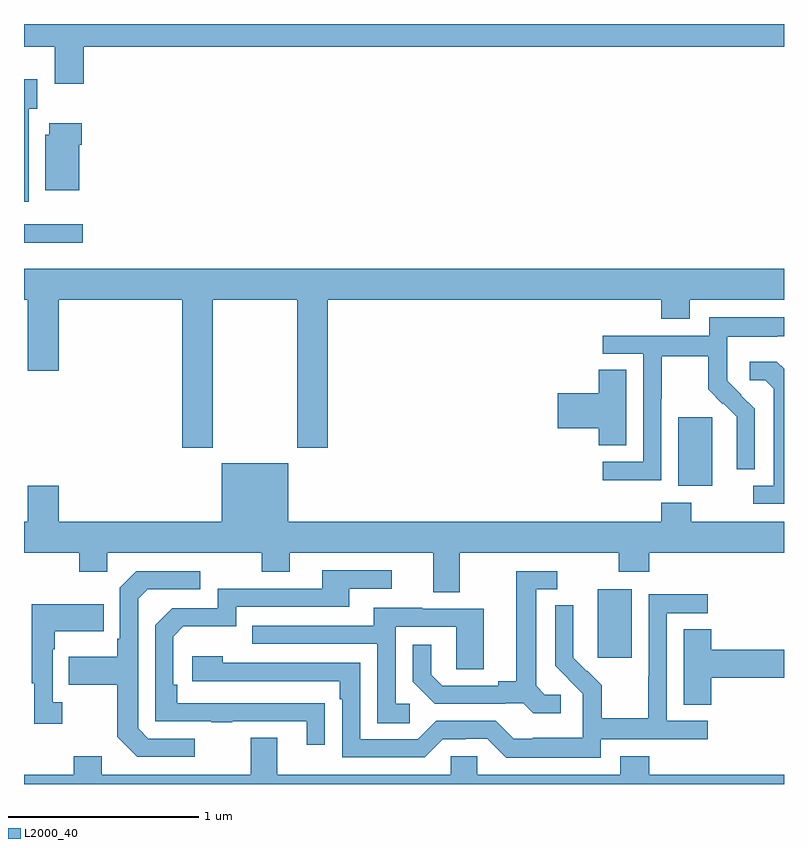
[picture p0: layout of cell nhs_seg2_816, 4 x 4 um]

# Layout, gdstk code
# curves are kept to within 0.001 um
import gdstk
lib = gdstk.Library(unit=1e-6, precision=1e-09)
def R(c, l, rs):  # rectangles x0, y0, x1, y1
    for r in rs: c.add(gdstk.rectangle(r[:2], r[2:], *l))
def P(c, l, *ps):  # polygons
    for p in ps: c.add(gdstk.Polygon(p, *l))
L2000_40 = (2000, 40)

nhs_seg2_816 = lib.new_cell('nhs_seg2_816')
R(nhs_seg2_816, L2000_40, [(156.02,600.465,156.199,600.826), (156.443,601.37,156.622,601.731), (153,602.648,153.31,602.745)])
P(nhs_seg2_816, L2000_40, [(153,603.68),(153.161,603.68),(153.161,603.486),(153.314,603.486),(153.314,603.68),(157,603.68),(157,603.8),(153,603.8)],
  [(153.025,603.354),(153.07,603.354),(153.07,603.508),(153,603.508),(153,602.865),(153.025,602.865)],
  [(153.292,603.164),(153.305,603.164),(153.305,603.277),(153.134,603.277),(153.134,603.216),(153.113,603.216),(153.113,602.924),(153.292,602.924)],
  [(153.993,602.348),(154.438,602.348),(154.438,601.569),(154.598,601.569),(154.598,602.348),(156.353,602.348),(156.353,602.249),(156.505,602.249),(156.505,602.348),(157,602.348),(157,602.512),(153,602.512),(153,602.348),(153.02,602.348),(153.02,601.974),(153.184,601.974),(153.184,602.348),(153.833,602.348),(153.833,601.569),(153.993,601.569)],
  [(156.354,601.828),(156.357,601.828),(156.357,602.052),(156.601,602.052),(156.601,601.877),(156.678,601.8),(156.681,601.803),(156.752,601.733),(156.752,601.61),(156.75,601.61),(156.75,601.456),(156.846,601.456),(156.846,601.774),(156.7,601.922),(156.7,602.019),(156.702,602.019),(156.702,602.153),(156.965,602.153),(156.965,602.157),(157,602.157),(157,602.257),(156.606,602.257),(156.606,602.16),(156.045,602.16),(156.045,602.064),(156.258,602.064),(156.258,601.497),(156.045,601.497),(156.045,601.399),(156.354,601.399)],
  [(157,601.985),(156.962,602.023),(156.819,602.023),(156.819,601.926),(156.9,601.926),(156.947,601.879),(156.947,601.371),(156.837,601.371),(156.837,601.275),(157,601.275)],
  [(156.169,601.979),(156.026,601.979),(156.026,601.856),(155.808,601.856),(155.808,601.673),(156.026,601.673),(156.026,601.582),(156.169,601.582)],
  [(155.293,601.016),(156.13,601.016),(156.13,600.917),(156.29,600.917),(156.29,601.016),(157,601.016),(157,601.18),(156.513,601.18),(156.513,601.279),(156.353,601.279),(156.353,601.18),(154.39,601.18),(154.39,601.489),(154.04,601.489),(154.04,601.18),(153.184,601.18),(153.184,601.369),(153.02,601.369),(153.02,601.18),(153,601.18),(153,601.016),(153.292,601.016),(153.292,600.917),(153.438,600.917),(153.438,601.016),(154.252,601.016),(154.252,600.917),(154.399,600.917),(154.399,601.016),(155.153,601.016),(155.153,600.808),(155.293,600.808)],
  [(154.583,600.224),(153.806,600.225),(153.806,600.322),(153.786,600.322),(153.786,600.576),(153.839,600.629),(154.116,600.629),(154.116,600.732),(154.711,600.732),(154.711,600.828),(154.936,600.828),(154.936,600.924),(154.571,600.924),(154.571,600.828),(154.02,600.828),(154.02,600.726),(153.78,600.726),(153.69,600.636),(153.69,600.129),(153.985,600.129),(153.985,600.124),(154.097,600.124),(154.097,600.129),(154.487,600.129),(154.487,600.006),(154.583,600.006)],
  [(153.898,600.039),(153.654,600.039),(153.6,600.093),(153.6,600.774),(153.651,600.825),(153.928,600.825),(153.928,600.921),(153.591,600.921),(153.504,600.834),(153.504,600.565),(153.492,600.565),(153.492,600.469),(153.235,600.469),(153.235,600.322),(153.492,600.322),(153.492,600.049),(153.597,599.943),(153.898,599.943)],
  [(155.824,600.27),(155.742,600.27),(155.695,600.317),(155.695,600.825),(155.806,600.825),(155.806,600.921),(155.591,600.921),(155.591,600.341),(155.495,600.341),(155.495,600.318),(155.2,600.318),(155.143,600.375),(155.143,600.532),(155.046,600.532),(155.046,600.338),(155.162,600.222),(155.534,600.222),(155.534,600.225),(155.628,600.225),(155.68,600.173),(155.824,600.173)],
  [(156.036,600.036),(156.598,600.036),(156.598,600.132),(156.384,600.132),(156.384,600.699),(156.598,600.699),(156.598,600.798),(156.288,600.798),(156.288,600.368),(156.286,600.368),(156.286,600.145),(156.041,600.145),(156.041,600.319),(155.964,600.396),(155.961,600.393),(155.891,600.464),(155.892,600.74),(155.796,600.74),(155.796,600.422),(155.942,600.274),(155.942,600.177),(155.94,600.177),(155.94,600.043),(155.677,600.043),(155.677,600.039),(155.577,600.039),(155.484,600.132),(155.169,600.132),(155.073,600.036),(154.77,600.036),(154.77,600.438),(154.046,600.438),(154.046,600.472),(153.885,600.472),(153.885,600.342),(154.661,600.342),(154.661,600.245),(154.674,600.245),(154.674,599.94),(155.109,599.94),(155.205,600.036),(155.324,600.036),(155.324,600.039),(155.439,600.039),(155.539,599.939),(156.036,599.939)],
  [(153.202,600.23),(153.15,600.23),(153.15,600.509),(153.163,600.509),(153.163,600.605),(153.419,600.605),(153.419,600.745),(153.042,600.745),(153.042,600.329),(153.053,600.329),(153.053,600.117),(153.202,600.117)],
  [(155.029,600.222),(154.956,600.222),(154.956,600.627),(155.274,600.627),(155.274,600.403),(155.419,600.403),(155.419,600.723),(155.095,600.723),(155.095,600.727),(154.841,600.727),(154.841,600.633),(154.201,600.633),(154.201,600.537),(154.86,600.537),(154.86,600.121),(155.029,600.121)],
  [(156.617,600.359),(157,600.359),(157,600.506),(156.617,600.506),(156.617,600.614),(156.473,600.614),(156.473,600.217),(156.617,600.217)],
  [(157,599.848),(156.29,599.848),(156.29,599.947),(156.137,599.947),(156.137,599.848),(155.385,599.848),(155.385,599.946),(155.247,599.946),(155.247,599.848),(154.333,599.848),(154.333,600.043),(154.193,600.043),(154.193,599.848),(153.409,599.848),(153.409,599.947),(153.262,599.947),(153.262,599.848),(153,599.848),(153,599.8),(157,599.8)])

lib.write_gds('nhs_seg2_816.gds')
